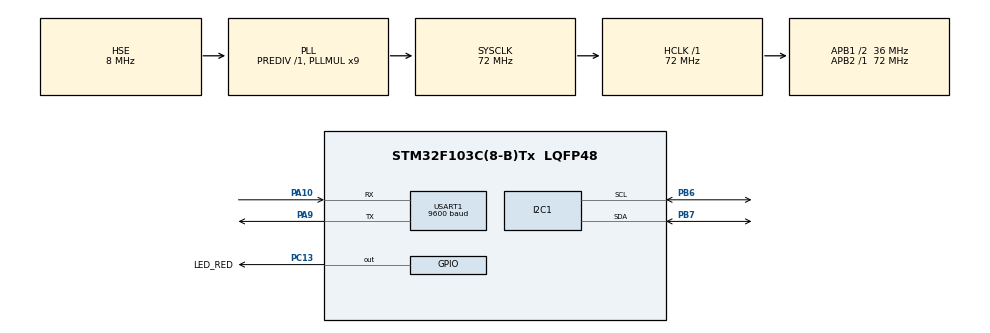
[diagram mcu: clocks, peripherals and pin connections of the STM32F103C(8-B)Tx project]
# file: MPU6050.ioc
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Mcu.Family=STM32F1
RCC.PLLSourceVirtual=RCC_PLLSOURCE_HSE
PD1-OSC_OUT.Mode=HSE-External-Oscillator
NVIC.I2C1_EV_IRQn=true\:0\:0\:false\:false\:true\:true\:true
PA10.Mode=Asynchronous
USART1.BaudRate=9600
PC13-TAMPER-RTC.Signal=GPIO_Output
PD0-OSC_IN.Signal=RCC_OSC_IN
RCC.APB1CLKDivider=RCC_HCLK_DIV2
RCC.SYSCLKSource=RCC_SYSCLKSOURCE_PLLCLK
ProjectManager.StackSize=0x400
PD1-OSC_OUT.Signal=RCC_OSC_OUT
PA13.Signal=SYS_JTMS-SWDIO
PA9.Mode=Asynchronous
ProjectManager.TargetToolchain=STM32CubeIDE
I2C1.I2C_Mode=I2C_Fast
RCC.HCLKFreq_Value=72000000
RCC.APB2TimFreq_Value=72000000
PA9.Signal=USART1_TX
PB6.Signal=I2C1_SCL
PB6.Mode=I2C
RCC.USBFreq_Value=72000000
RCC.AHBFreq_Value=72000000
PD0-OSC_IN.Mode=HSE-External-Oscillator
PB3.Mode=Trace_Asynchronous_SW
board=custom
PC13-TAMPER-RTC.GPIO_Label=LED_RED
RCC.PLLMUL=RCC_PLL_MUL9
RCC.APB2Freq_Value=72000000
PA14.Mode=Trace_Asynchronous_SW
PB7.Signal=I2C1_SDA
PA13.Mode=Trace_Asynchronous_SW
NVIC.I2C1_ER_IRQn=true\:0\:0\:false\:false\:true\:true\:true
Mcu.Name=STM32F103C(8-B)Tx
PB3.Signal=SYS_JTDO-TRACESWO
RCC.SYSCLKFreq_VALUE=72000000
Mcu.Package=LQFP48
USART1.VirtualMode=VM_ASYNC
PB7.Mode=I2C
PA10.Signal=USART1_RX
PA14.Signal=SYS_JTCK-SWCLK
ProjectManager.HeapSize=0x200
NVIC.PriorityGroup=NVIC_PRIORITYGROUP_4
RCC.APB1TimFreq_Value=72000000
RCC.APB1Freq_Value=36000000

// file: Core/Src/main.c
/* USER CODE BEGIN Header */
/**
  ******************************************************************************
  * @file           : main.c
  * @brief          : Main program body
  ******************************************************************************
  * @attention
  *
  * <h2><center>&copy; Copyright (c) 2021 STMicroelectronics.
  * All rights reserved.</center></h2>
  *
  * This software component is licensed by ST under BSD 3-Clause license,
  * the "License"; You may not use this file except in compliance with the
  * License. You may obtain a copy of the License at:
  *                        opensource.org/licenses/BSD-3-Clause
  *
  ******************************************************************************
  */
/* USER CODE END Header */
#include "main.h"

/* USER CODE BEGIN Includes */
#include <math.h>
/* USER CODE END Includes */

/* USER CODE BEGIN PTD */
void MPU6050_Read_Gyro (void);
void MPU6050_Read_Accel ();
void MPU6050_Init (void);
void Calibration_MPU6050(float data);
/* USER CODE END PTD */

/* USER CODE BEGIN PD */
#define MPU6050_ADDR 0xD0
#define SMPLRT_DIV_REG 0x19
#define GYRO_CONFIG_REG 0x1B
#define ACCEL_CONFIG_REG 0x1C
#define ACCEL_XOUT_H_REG 0x3B
#define TEMP_OUT_H_REG 0x41
#define GYRO_XOUT_H_REG 0x43
#define PWR_MGMT_1_REG 0x6B
#define WHO_AM_I_REG 0x75
/* USER CODE END PD */

/* USER CODE BEGIN PM */
// rotation angle of the sensor
unsigned long last_read_time;
float         last_x_angle;  	// These are the filtered angles
float         last_y_angle;
float         last_z_angle;
float         last_gyro_x_angle;  // Store the gyro angles to compare drift
float         last_gyro_y_angle;
float         last_gyro_z_angle;

/* USER CODE END PM */

I2C_HandleTypeDef hi2c1;

UART_HandleTypeDef huart1;

/* USER CODE BEGIN PV */
int16_t Accel_X_RAW = 0;
int16_t Accel_Y_RAW = 0;
int16_t Accel_Z_RAW = 0;

int16_t Gyro_X_RAW = 0;
int16_t Gyro_Y_RAW = 0;
int16_t Gyro_Z_RAW = 0;

float Ax, Ay, Az, Gx, Gy, Gz;

float min_val = 0;
float max_val = 0;
float diff = 0;
float prev_accel=0;
float curr_accel=0;

float accel_angle_x;
float accel_angle_y;
float accel_angle_z;

float gyro_angle_x;
float gyro_angle_y;
float gyro_angle_z;

float unfiltered_gyro_angle_x;
float unfiltered_gyro_angle_y;
float unfiltered_gyro_angle_z;

static float degrees_pitch_acc, degrees_roll_acc;
static float acc_vector;
static float degrees_pitch = 0, degrees_roll = 0;

float temp;
float formatted_pitch;
float formatted_roll;

float angle_x;
float angle_y;
float angle_z;

unsigned long prev_time, curr_time;
float dt=0;
const float RADIANS_TO_DEGREES = 57.2958; // 180/3.14159
const float alpha = 0.96;
/* USER CODE END PV */

void SystemClock_Config(void);
static void MX_GPIO_Init(void);
static void MX_I2C1_Init(void);
static void MX_USART1_UART_Init(void);

int main(void)
{

  /* MCU Configuration--------------------------------------------------------*/

  /* Reset of all peripherals, Initializes the Flash interface and the Systick. */
  HAL_Init();

  /* Configure the system clock */
  SystemClock_Config();

  /* Initialize all configured peripherals */
  MX_GPIO_Init();
  MX_I2C1_Init();
  MX_USART1_UART_Init();
  /* USER CODE BEGIN 2 */
  MPU6050_Init();

  /* USER CODE END 2 */

  /* Infinite loop */
  while (1)
  {

    /* USER CODE BEGIN 3 */
//	  prev_time = HAL_GetTick();
	MPU6050_Read_Accel();
	MPU6050_Read_Gyro();

	degrees_pitch += Gy * 0.0000610687;
	degrees_roll  += Gx * 0.0000610687;

	degrees_pitch += degrees_roll * sin(Gz * 0.000001066);
	degrees_roll  -= degrees_pitch * sin(Gz * 0.000001066);

	acc_vector = sqrt((Ax * Ax) + (Ay * Ay) + (Az * Az));
	degrees_pitch_acc = asin((float) Ay/acc_vector) * 57.2957795;
	degrees_roll_acc  = asin((float) Ax/acc_vector) * -57.2957795;

	degrees_pitch = degrees_pitch * 0.97 + degrees_pitch_acc * 0.03;
	degrees_roll  = degrees_roll * 0.97 + degrees_roll_acc * 0.03;

	formatted_pitch = degrees_pitch * 100;
	formatted_roll = degrees_roll * 100;
  }
  /* USER CODE END 3 */
}

void SystemClock_Config(void)
{
  RCC_OscInitTypeDef RCC_OscInitStruct = {0};
  RCC_ClkInitTypeDef RCC_ClkInitStruct = {0};

  /** Initializes the RCC Oscillators according to the specified parameters
  * in the RCC_OscInitTypeDef structure.
  */
  RCC_OscInitStruct.OscillatorType = RCC_OSCILLATORTYPE_HSE;
  RCC_OscInitStruct.HSEState = RCC_HSE_ON;
  RCC_OscInitStruct.HSEPredivValue = RCC_HSE_PREDIV_DIV1;
  RCC_OscInitStruct.HSIState = RCC_HSI_ON;
  RCC_OscInitStruct.PLL.PLLState = RCC_PLL_ON;
  RCC_OscInitStruct.PLL.PLLSource = RCC_PLLSOURCE_HSE;
  RCC_OscInitStruct.PLL.PLLMUL = RCC_PLL_MUL9;
  if (HAL_RCC_OscConfig(&RCC_OscInitStruct) != HAL_OK)
  {
    Error_Handler();
  }
  /** Initializes the CPU, AHB and APB buses clocks
  */
  RCC_ClkInitStruct.ClockType = RCC_CLOCKTYPE_HCLK|RCC_CLOCKTYPE_SYSCLK
                              |RCC_CLOCKTYPE_PCLK1|RCC_CLOCKTYPE_PCLK2;
  RCC_ClkInitStruct.SYSCLKSource = RCC_SYSCLKSOURCE_PLLCLK;
  RCC_ClkInitStruct.AHBCLKDivider = RCC_SYSCLK_DIV1;
  RCC_ClkInitStruct.APB1CLKDivider = RCC_HCLK_DIV2;
  RCC_ClkInitStruct.APB2CLKDivider = RCC_HCLK_DIV1;

  if (HAL_RCC_ClockConfig(&RCC_ClkInitStruct, FLASH_LATENCY_2) != HAL_OK)
  {
    Error_Handler();
  }
}

static void MX_I2C1_Init(void)
{

  hi2c1.Instance = I2C1;
  hi2c1.Init.ClockSpeed = 400000;
  hi2c1.Init.DutyCycle = I2C_DUTYCYCLE_2;
  hi2c1.Init.OwnAddress1 = 0;
  hi2c1.Init.AddressingMode = I2C_ADDRESSINGMODE_7BIT;
  hi2c1.Init.DualAddressMode = I2C_DUALADDRESS_DISABLE;
  hi2c1.Init.OwnAddress2 = 0;
  hi2c1.Init.GeneralCallMode = I2C_GENERALCALL_DISABLE;
  hi2c1.Init.NoStretchMode = I2C_NOSTRETCH_DISABLE;
  if (HAL_I2C_Init(&hi2c1) != HAL_OK)
  {
    Error_Handler();
  }

}

static void MX_USART1_UART_Init(void)
{

  huart1.Instance = USART1;
  huart1.Init.BaudRate = 9600;
  huart1.Init.WordLength = UART_WORDLENGTH_8B;
  huart1.Init.StopBits = UART_STOPBITS_1;
  huart1.Init.Parity = UART_PARITY_NONE;
  huart1.Init.Mode = UART_MODE_TX_RX;
  huart1.Init.HwFlowCtl = UART_HWCONTROL_NONE;
  huart1.Init.OverSampling = UART_OVERSAMPLING_16;
  if (HAL_UART_Init(&huart1) != HAL_OK)
  {
    Error_Handler();
  }

}

static void MX_GPIO_Init(void)
{
  GPIO_InitTypeDef GPIO_InitStruct = {0};

  /* GPIO Ports Clock Enable */
  __HAL_RCC_GPIOC_CLK_ENABLE();
  __HAL_RCC_GPIOD_CLK_ENABLE();
  __HAL_RCC_GPIOA_CLK_ENABLE();
  __HAL_RCC_GPIOB_CLK_ENABLE();

  /*Configure GPIO pin Output Level */
  HAL_GPIO_WritePin(LED_RED_GPIO_Port, LED_RED_Pin, GPIO_PIN_RESET);

  /*Configure GPIO pin : LED_RED_Pin */
  GPIO_InitStruct.Pin = LED_RED_Pin;
  GPIO_InitStruct.Mode = GPIO_MODE_OUTPUT_PP;
  GPIO_InitStruct.Pull = GPIO_NOPULL;
  GPIO_InitStruct.Speed = GPIO_SPEED_FREQ_LOW;
  HAL_GPIO_Init(LED_RED_GPIO_Port, &GPIO_InitStruct);

}

/* USER CODE BEGIN 4 */
void MPU6050_Init (void)
{
	  uint8_t PWR_MGMT_1[2] = {0x6B, 0x00};
	  while (HAL_I2C_Master_Transmit(&hi2c1, MPU6050_ADDR, PWR_MGMT_1, 2, 10) != HAL_OK);

	  uint8_t GYR_CONFIG[2] = {0x1B, 0x08};
	  while(HAL_I2C_Master_Transmit(&hi2c1, MPU6050_ADDR, GYR_CONFIG, 2, 10) != HAL_OK);

	  uint8_t ACC_CONFIG[2] = {0x1C, 0x10};
	  while(HAL_I2C_Master_Transmit(&hi2c1, MPU6050_ADDR, ACC_CONFIG, 2, 10) != HAL_OK);

	  uint8_t LPF_CONFIG[2] = {0x1A, 0x03};
	  while(HAL_I2C_Master_Transmit(&hi2c1, MPU6050_ADDR, LPF_CONFIG, 2, 10) != HAL_OK);
//	uint8_t check;
//	uint8_t Data;
//
//	// check device ID WHO_AM_I
//
//	HAL_I2C_Mem_Read (&hi2c1, MPU6050_ADDR,WHO_AM_I_REG,1, &check, 1, 1000);
//
//	if (check == 0x68)  // 0x68 will be returned by the sensor if everything goes well
//	{
//		// power management register 0X6B we should write all 0's to wake the sensor up
//		Data = 0;
//		HAL_I2C_Mem_Write(&hi2c1, MPU6050_ADDR, PWR_MGMT_1_REG, 1,&Data, 1, 1000);
//
//		// Set DATA RATE of 1KHz by writing SMPLRT_DIV register
//		Data = 0x07;
//		HAL_I2C_Mem_Write(&hi2c1, MPU6050_ADDR, SMPLRT_DIV_REG, 1, &Data, 1, 1000);
//
//		// Set accelerometer configuration in ACCEL_CONFIG Register
//		// XA_ST=0,YA_ST=0,ZA_ST=0, FS_SEL=2 -> � 8g
//		Data = 0x10;
//		HAL_I2C_Mem_Write(&hi2c1, MPU6050_ADDR, ACCEL_CONFIG_REG, 1, &Data, 1, 1000);
//
//		// Set Gyroscopic configuration in GYRO_CONFIG Register
//		// XG_ST=0,YG_ST=0,ZG_ST=0, FS_SEL=0 -> � 250 �/s
//		Data = 0x08;
//		HAL_I2C_Mem_Write(&hi2c1, MPU6050_ADDR, GYRO_CONFIG_REG, 1, &Data, 1, 1000);
//	}

}

void MPU6050_Read_Accel ()
{
	uint8_t Rec_Data[6];

	// Read 6 BYTES of data starting from ACCEL_XOUT_H register

	HAL_I2C_Mem_Read (&hi2c1, MPU6050_ADDR, ACCEL_XOUT_H_REG, 1, Rec_Data, 6, 100);

	Ax = (int16_t)(Rec_Data[0] << 8 | Rec_Data [1]);
	Ay = (int16_t)(Rec_Data[2] << 8 | Rec_Data [3]);
	Az = (int16_t)(Rec_Data[4] << 8 | Rec_Data [5]);

	/*** convert the RAW values into acceleration in 'g'
	     we have to divide according to the Full scale value set in FS_SEL
	     I have configured FS_SEL = 0. So I am dividing by 16384.0
	     for more details check ACCEL_CONFIG Register              ****/

//	Ax = Accel_X_RAW/2048.0;
//	Ay = Accel_Y_RAW/2048.0;
//	Az = Accel_Z_RAW/2048.0;
}

void Calibration_MPU6050(float data){
	if(data > max_val)
		max_val = data;
	else if (data < min_val)
		min_val = data;
}

void MPU6050_Read_Gyro (void)
{
	uint8_t Rec_Data[6];

	// Read 6 BYTES of data starting from GYRO_XOUT_H register

	HAL_I2C_Mem_Read (&hi2c1, MPU6050_ADDR, GYRO_XOUT_H_REG, 1, Rec_Data, 6, 1000);

	Gx = (int16_t)(Rec_Data[0] << 8 | Rec_Data [1]);
	Gy = (int16_t)(Rec_Data[2] << 8 | Rec_Data [3]);
	Gz = (int16_t)(Rec_Data[4] << 8 | Rec_Data [5]);

	/*** convert the RAW values into dps (�/s)
	     we have to divide according to the Full scale value set in FS_SEL
	     I have configured FS_SEL = 0. So I am dividing by 131.0
	     for more details check GYRO_CONFIG Register              ****/

//	Gx = Gyro_X_RAW/131.0;
//	Gy = Gyro_Y_RAW/131.0;
//	Gz = Gyro_Z_RAW/131.0;
}

/* USER CODE END 4 */

void Error_Handler(void)
{
  __disable_irq();
  while (1)
  {
  }
}

/************************ (C) COPYRIGHT STMicroelectronics *****END OF FILE****/
